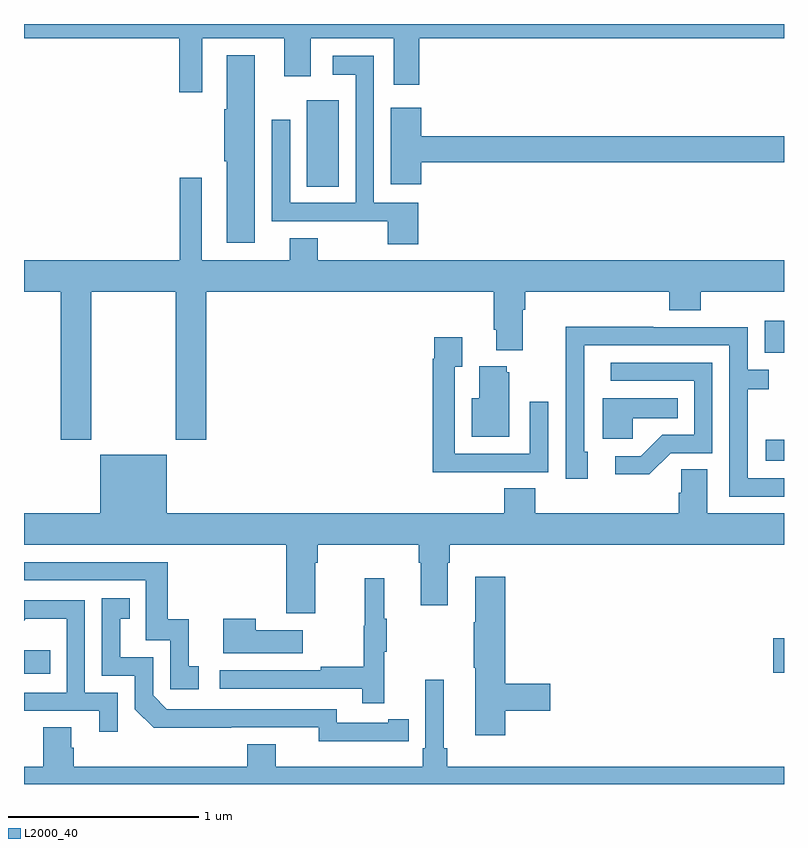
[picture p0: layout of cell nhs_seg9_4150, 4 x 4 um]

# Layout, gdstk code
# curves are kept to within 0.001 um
import gdstk
lib = gdstk.Library(unit=1e-6, precision=1e-09)
def R(c, l, rs):  # rectangles x0, y0, x1, y1
    for r in rs: c.add(gdstk.rectangle(r[:2], r[2:], *l))
def P(c, l, *ps):  # polygons
    for p in ps: c.add(gdstk.Polygon(p, *l))
L2000_40 = (2000, 40)

nhs_seg9_4150 = lib.new_cell('nhs_seg9_4150')
R(nhs_seg9_4150, L2000_40, [(349,1189.08,349.139,1189.203), (352.944,1189.085,353,1189.268), (352.905,1190.201,353,1190.311), (352.899,1190.769,353,1190.938), (350.489,1191.643,350.656,1192.099)])
P(nhs_seg9_4150, L2000_40, [(349.939,1192.424),(350.369,1192.424),(350.369,1192.224),(350.509,1192.224),(350.509,1192.424),(350.945,1192.424),(350.945,1192.179),(351.08,1192.179),(351.08,1192.424),(353,1192.424),(353,1192.5),(349,1192.5),(349,1192.424),(349.818,1192.424),(349.818,1192.14),(349.939,1192.14)],
  [(350.215,1192.336),(350.066,1192.336),(350.066,1192.052),(350.054,1192.052),(350.054,1191.778),(350.066,1191.778),(350.066,1191.348),(350.215,1191.348)],
  [(351.074,1191.558),(350.841,1191.558),(350.841,1192.333),(350.625,1192.333),(350.625,1192.232),(350.745,1192.232),(350.745,1191.558),(350.4,1191.558),(350.4,1191.997),(350.304,1191.997),(350.304,1191.462),(350.648,1191.462),(350.648,1191.461),(350.914,1191.461),(350.914,1191.342),(351.074,1191.342)],
  [(351.092,1191.772),(353,1191.772),(353,1191.908),(351.092,1191.908),(351.092,1192.06),(350.93,1192.06),(350.93,1191.657),(351.092,1191.657)],
  [(349,1191.092),(349.193,1191.092),(349.193,1190.313),(349.353,1190.313),(349.353,1191.092),(349.798,1191.092),(349.798,1190.313),(349.958,1190.313),(349.958,1191.092),(351.473,1191.092),(351.473,1190.89),(351.485,1190.89),(351.485,1190.783),(351.625,1190.783),(351.625,1190.996),(351.638,1190.996),(351.638,1191.092),(352.397,1191.092),(352.397,1190.993),(352.562,1190.993),(352.562,1191.092),(353,1191.092),(353,1191.256),(350.547,1191.256),(350.547,1191.373),(350.399,1191.373),(350.399,1191.256),(349.936,1191.256),(349.936,1191.691),(349.819,1191.691),(349.819,1191.256),(349,1191.256)],
  [(353,1190.109),(352.809,1190.109),(352.809,1190.578),(352.919,1190.578),(352.919,1190.679),(352.809,1190.679),(352.809,1190.904),(352.313,1190.904),(352.313,1190.906),(351.85,1190.906),(351.85,1190.599),(351.852,1190.599),(351.852,1190.106),(351.967,1190.106),(351.967,1190.25),(351.948,1190.25),(351.948,1190.554),(351.949,1190.554),(351.949,1190.808),(352.713,1190.808),(352.713,1190.013),(353,1190.013)],
  [(351.443,1190.142),(351.759,1190.142),(351.759,1190.512),(351.663,1190.512),(351.663,1190.238),(351.267,1190.238),(351.267,1190.695),(351.307,1190.695),(351.307,1190.851),(351.159,1190.851),(351.159,1190.738),(351.151,1190.738),(351.151,1190.141),(351.443,1190.141)],
  [(352.404,1190.241),(352.623,1190.241),(352.623,1190.718),(352.089,1190.718),(352.089,1190.622),(352.527,1190.622),(352.527,1190.337),(352.358,1190.337),(352.247,1190.226),(352.113,1190.226),(352.113,1190.129),(352.291,1190.129)],
  [(351.553,1190.667),(351.542,1190.667),(351.542,1190.698),(351.395,1190.698),(351.395,1190.53),(351.356,1190.53),(351.356,1190.327),(351.553,1190.327)],
  [(352.203,1190.426),(352.442,1190.426),(352.442,1190.53),(352.046,1190.53),(352.046,1190.318),(352.203,1190.318)],
  [(350.533,1189.664),(350.546,1189.664),(350.546,1189.76),(351.077,1189.76),(351.077,1189.664),(351.089,1189.664),(351.089,1189.44),(351.229,1189.44),(351.229,1189.664),(351.242,1189.664),(351.242,1189.76),(353,1189.76),(353,1189.924),(352.597,1189.924),(352.597,1190.156),(352.458,1190.156),(352.458,1190.033),(352.445,1190.033),(352.445,1189.924),(351.692,1189.924),(351.692,1190.057),(351.527,1190.057),(351.527,1189.924),(349.75,1189.924),(349.75,1190.233),(349.4,1190.233),(349.4,1189.924),(349,1189.924),(349,1189.76),(350.381,1189.76),(350.381,1189.398),(350.533,1189.398)],
  [(349.921,1189.119),(349.868,1189.119),(349.868,1189.366),(349.757,1189.366),(349.757,1189.668),(349,1189.668),(349,1189.572),(349.641,1189.572),(349.641,1189.257),(349.77,1189.257),(349.77,1188.999),(349.921,1188.999)],
  [(351.533,1188.886),(351.769,1188.886),(351.769,1189.028),(351.533,1189.028),(351.533,1189.591),(351.374,1189.591),(351.374,1189.352),(351.367,1189.352),(351.367,1189.111),(351.374,1189.111),(351.374,1188.756),(351.533,1188.756)],
  [(350.897,1189.195),(350.908,1189.195),(350.908,1189.369),(350.897,1189.369),(350.897,1189.582),(350.794,1189.582),(350.794,1189.332),(350.787,1189.332),(350.787,1189.118),(350.563,1189.118),(350.563,1189.098),(350.031,1189.098),(350.031,1189.002),(350.779,1189.002),(350.779,1188.924),(350.897,1188.924)],
  [(350.918,1188.726),(351.026,1188.726),(351.026,1188.842),(350.918,1188.842),(350.918,1188.822),(350.646,1188.822),(350.646,1188.894),(349.752,1188.894),(349.68,1188.966),(349.68,1189.167),(349.507,1189.167),(349.507,1189.371),(349.556,1189.371),(349.556,1189.477),(349.41,1189.477),(349.41,1189.071),(349.584,1189.071),(349.584,1188.894),(349.682,1188.797),(350.55,1188.798),(350.55,1188.725)],
  [(349.494,1188.981),(349.32,1188.981),(349.32,1189.467),(349,1189.467),(349,1189.36),(349.01,1189.37),(349.224,1189.37),(349.224,1188.981),(349,1188.981),(349,1188.885),(349.397,1188.885),(349.397,1188.774),(349.494,1188.774)],
  [(350.467,1189.309),(350.219,1189.309),(350.219,1189.369),(350.048,1189.369),(350.048,1189.187),(350.467,1189.187)],
  [(353,1188.592),(351.227,1188.592),(351.227,1188.688),(351.208,1188.688),(351.208,1189.048),(351.111,1189.048),(351.111,1188.688),(351.098,1188.688),(351.098,1188.592),(350.326,1188.592),(350.326,1188.709),(350.174,1188.709),(350.174,1188.592),(349.262,1188.592),(349.262,1188.69),(349.249,1188.69),(349.249,1188.8),(349.102,1188.8),(349.102,1188.592),(349,1188.592),(349,1188.5),(353,1188.5)])

lib.write_gds('nhs_seg9_4150.gds')
